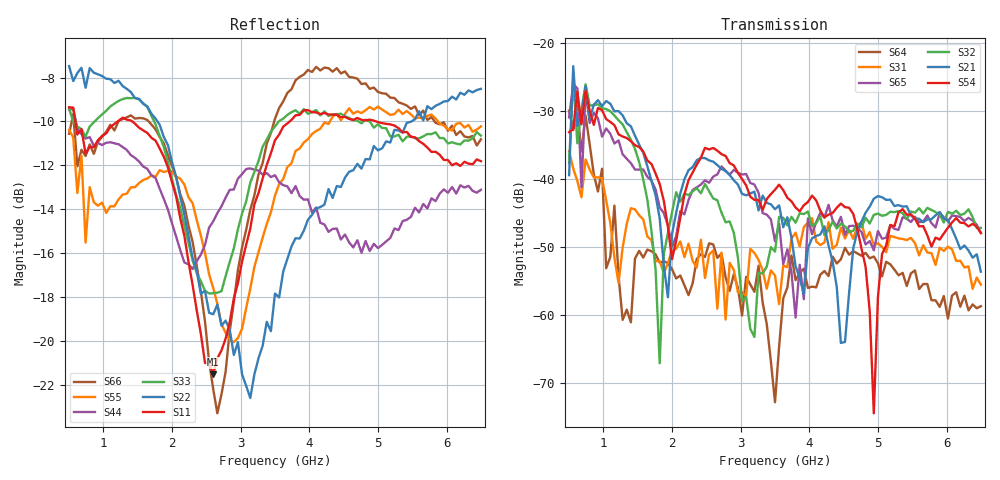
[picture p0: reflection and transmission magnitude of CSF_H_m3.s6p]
!Keysight Technologies,M9804A,MY58100912,A.14.10.03
!Date: Thursday, April 27, 2023 10:28:33
!Correction: S11(C  6-Port  )
!S12(C  6-Port  )
!S13(C  6-Port  )
!S14(C  6-Port  )
!S15(C  6-Port  )
!S16(C  6-Port  )
!S21(C  6-Port  )
!S22(C  6-Port  )
!S23(C  6-Port  )
!S24(C  6-Port  )
!S25(C  6-Port  )
!S26(C  6-Port  )
!S31(C  6-Port  )
!S32(C  6-Port  )
!S33(C  6-Port  )
!S34(C  6-Port  )
!S35(C  6-Port  )
!S36(C  6-Port  )
!S41(C  6-Port  )
!S42(C  6-Port  )
!S43(C  6-Port  )
!S44(C  6-Port  )
!S45(C  6-Port  )
!S46(C  6-Port  )
!S51(C  6-Port  )
!S52(C  6-Port  )
!S53(C  6-Port  )
!S54(C  6-Port  )
!S55(C  6-Port  )
!S56(C  6-Port  )
!S61(C  6-Port  )
!S62(C  6-Port  )
!S63(C  6-Port  )
!S64(C  6-Port  )
!S65(C  6-Port  )
!S66(C  6-Port  )
!S6P File: Measurement: :
# Hz S  RI  R 50
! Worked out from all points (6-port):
!   101 points, 500 MHz to 6.5 GHz, reference 50 ohm
!   strongest paths, dB at 500 MHz, 2 GHz, 3.5 GHz, 5 GHz, 6.5 GHz:
!     S54: -33.1, -51.8, -41.6, -57.3, -48.0
!     S21: -39.4, -48.1, -44.5, -42.5, -53.6
!     S32: -37.6, -44.9, -50.7, -45.1, -47.2
!     S65: -30.9, -50.0, -49.2, -47.7, -47.9
!     S31: -35.9, -50.6, -54.2, -49.5, -55.5
!     S64: -29.9, -53.3, -72.9, -52.4, -58.7
!   lowest |S11| = -21.5 dB at 2.6 GHz (marker M1), VSWR 1.18, Z = 42.5 + j2.09 ohm
!   |S11| at or under -10 dB: 590.8 MHz to 1.206 GHz (615.5 MHz wide, 68.5 % of centre); 1.42 GHz to 3.713 GHz (2.294 GHz wide, 89.4 % of centre); 4.975 GHz to end of sweep
